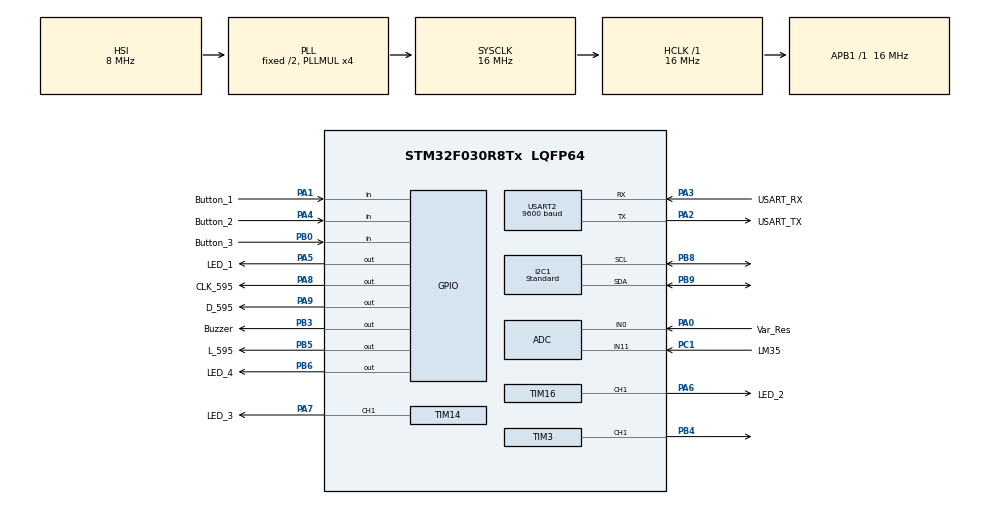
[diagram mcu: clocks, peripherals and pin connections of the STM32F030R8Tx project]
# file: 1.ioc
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ADC.ClockPrescaler=ADC_CLOCK_SYNC_PCLK_DIV2
ADC.ContinuousConvMode=ENABLE
ADC.DMAContinuousRequests=DISABLE
ADC.EOCSelection=ADC_EOC_SEQ_CONV
Dma.ADC.0.Direction=DMA_PERIPH_TO_MEMORY
Dma.ADC.0.Instance=DMA1_Channel1
Dma.ADC.0.MemDataAlignment=DMA_MDATAALIGN_HALFWORD
Dma.ADC.0.MemInc=DMA_MINC_ENABLE
Dma.ADC.0.Mode=DMA_NORMAL
Dma.ADC.0.PeriphDataAlignment=DMA_PDATAALIGN_HALFWORD
Dma.ADC.0.PeriphInc=DMA_PINC_DISABLE
Dma.ADC.0.Priority=DMA_PRIORITY_LOW
Dma.Request0=ADC
I2C1.I2C_Fall_Time=0
I2C1.I2C_Rise_Time=0
I2C1.I2C_Speed_Mode=I2C_Standard
I2C1.Speed=10
I2C1.Timing=0x200009FE
Mcu.Family=STM32F0
Mcu.Name=STM32F030R8Tx
Mcu.Package=LQFP64
NVIC.DMA1_Channel1_IRQn=true\:0\:0\:false\:false\:true\:false\:true
NVIC.TIM6_IRQn=true\:0\:0\:false\:false\:true\:true\:true
PA0.GPIO_Label=Var_Res
PA0.Mode=IN0
PA0.Signal=ADC_IN0
PA1.GPIO_Label=Button_1
PA1.Signal=GPIO_Input
PA2.GPIO_Label=USART_TX
PA2.Mode=Asynchronous
PA2.Signal=USART2_TX
PA3.GPIO_Label=USART_RX
PA3.Mode=Asynchronous
PA3.Signal=USART2_RX
PA4.GPIO_Label=Button_2
PA4.Signal=GPIO_Input
PA5.GPIO_Label=LED_1
PA5.GPIO_ModeDefaultOutputPP=GPIO_MODE_OUTPUT_PP
PA5.PinState=GPIO_PIN_SET
PA5.Signal=GPIO_Output
PA6.GPIO_Label=LED_2
PA6.GPIO_ModeDefaultPP=GPIO_MODE_AF_OD
PA6.Signal=S_TIM16_CH1
PA7.GPIO_Label=LED_3
PA7.GPIO_ModeDefaultPP=GPIO_MODE_AF_OD
PA7.Signal=S_TIM14_CH1
PA8.GPIO_Label=CLK_595
PA8.Signal=GPIO_Output
PA9.GPIO_Label=D_595
PA9.Signal=GPIO_Output
PB0.GPIO_Label=Button_3
PB0.Signal=GPIO_Input
PB3.GPIO_Label=Buzzer
PB3.GPIO_ModeDefaultOutputPP=GPIO_MODE_OUTPUT_OD
PB3.GPIO_PuPd=GPIO_PULLUP
PB3.PinState=GPIO_PIN_SET
PB3.Signal=GPIO_Output
PB4.Signal=S_TIM3_CH1
PB5.GPIO_Label=L_595
PB5.Signal=GPIO_Output
PB6.GPIO_Label=LED_4
PB6.GPIO_ModeDefaultOutputPP=GPIO_MODE_OUTPUT_PP
PB6.PinState=GPIO_PIN_SET
PB6.Signal=GPIO_Output
PB8.Mode=I2C
PB8.Signal=I2C1_SCL
PB9.Mode=I2C
PB9.Signal=I2C1_SDA
PC1.GPIO_Label=LM35
PC1.Mode=IN11
PC1.Signal=ADC_IN11
ProjectManager.HeapSize=0x200
ProjectManager.StackSize=0x400
ProjectManager.TargetToolchain=TrueSTUDIO
RCC.AHBFreq_Value=16000000
RCC.APB1Freq_Value=16000000
RCC.APB1TimFreq_Value=16000000
RCC.HCLKFreq_Value=16000000
RCC.PLLMUL=RCC_PLL_MUL4
RCC.SYSCLKFreq_VALUE=16000000
RCC.SYSCLKSource=RCC_SYSCLKSOURCE_PLLCLK
SH.S_TIM14_CH1.0=TIM14_CH1,PWM Generation1 CH1
SH.S_TIM16_CH1.0=TIM16_CH1,PWM Generation1 CH1
SH.S_TIM3_CH1.0=TIM3_CH1,PWM Generation1 CH1
TIM14.Channel=TIM_CHANNEL_1
TIM14.Period=4096
TIM14.Prescaler=2
TIM16.Channel=TIM_CHANNEL_1
TIM16.OCPolarity_1=TIM_OCPOLARITY_LOW
TIM16.Period=4096
TIM16.Prescaler=2
TIM3.Channel-PWM\ Generation1\ CH1=TIM_CHANNEL_1
TIM3.Period=4999
TIM3.Prescaler=64
TIM6.Period=32
TIM6.Prescaler=1024
USART2.BaudRate=9600
USART2.VirtualMode-Asynchronous=VM_ASYNC
VP_TIM14_VS_ClockSourceINT.Mode=Enable_Timer
VP_TIM16_VS_ClockSourceINT.Mode=Enable_Timer
VP_TIM3_VS_ClockSourceINT.Mode=Internal
VP_TIM6_VS_ClockSourceINT.Mode=Enable_Timer
board=custom

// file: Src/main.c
/* USER CODE BEGIN Header */
/**
  ******************************************************************************
REASkills-2019
  ******************************************************************************
  */
/* USER CODE END Header */

#include "main.h"

/* USER CODE BEGIN Includes */
#include <QuardDisplay.h>
#include "sd_hal_mpu6050.h"

void PWM_14_set_pos(uint16_t pos)
{
	TIM14->CCR1 = pos;
}
/* USER CODE END Includes */

ADC_HandleTypeDef hadc;
DMA_HandleTypeDef hdma_adc;

I2C_HandleTypeDef hi2c1;

TIM_HandleTypeDef htim3;
TIM_HandleTypeDef htim6;
TIM_HandleTypeDef htim14;
TIM_HandleTypeDef htim16;

UART_HandleTypeDef huart2;

/* USER CODE BEGIN PV */
/* Private variables ---------------------------------------------------------*/
char flag_pauza = 0;
uint16_t pos;
uint8_t i = 0;
uint16_t ADC_Data [16];
char str[100];
/*???????? ?????? ??? ????????????? ????????????? MPU6050*/
SD_MPU6050 mpu1;
SD_MPU6050_Result result ;
/* USER CODE END PV */

void SystemClock_Config(void);
static void MX_GPIO_Init(void);
static void MX_DMA_Init(void);
static void MX_ADC_Init(void);
static void MX_TIM6_Init(void);
static void MX_TIM3_Init(void);
static void MX_USART2_UART_Init(void);
static void MX_I2C1_Init(void);
static void MX_TIM14_Init(void);
static void MX_TIM16_Init(void);

int main(void)
{

  /* MCU Configuration--------------------------------------------------------*/

  /* Reset of all peripherals, Initializes the Flash interface and the Systick. */
  HAL_Init();

  /* Configure the system clock */
  SystemClock_Config();

  /* Initialize all configured peripherals */
  MX_GPIO_Init();
  MX_DMA_Init();
  MX_ADC_Init();
  MX_TIM6_Init();
  MX_TIM3_Init();
  MX_USART2_UART_Init();
  MX_I2C1_Init();
  MX_TIM14_Init();
  MX_TIM16_Init();
  /* USER CODE BEGIN 2 */
	HAL_TIM_PWM_Start_IT(&htim3, TIM_CHANNEL_1);
	HAL_TIM_PWM_Start_IT(&htim14, TIM_CHANNEL_1);
	HAL_TIM_PWM_Start_IT(&htim16, TIM_CHANNEL_1);
	HAL_TIM_Base_Start_IT(&htim6);
  /* USER CODE END 2 */

  /* Infinite loop */
  /* USER CODE BEGIN WHILE */
	uint8_t s;
	for(s = 5;s>0;s--)
  {
		DisplayByteDigit(s,  s,  s,  s);
		printf ("%d" "\n", s);
		HAL_Delay (500);
  }

	printf ("%s","Test USART - OK \n");

	SD_MPU6050_Init(&hi2c1,&mpu1,SD_MPU6050_Device_0,SD_MPU6050_Accelerometer_2G,SD_MPU6050_Gyroscope_250s);
	TIM3->CCR2 = 400;
  while (1)
  {
		static uint16_t ugol;
			HAL_ADC_Start_DMA (&hadc, (uint32_t *) ADC_Data, 2);
	HAL_Delay (1);

TIM14->CCR1 = (ADC_Data [0]);
TIM16->CCR1 = (ADC_Data [0]);
//TIM3->CCR2 = ADC_Data [0]*0.13427734375+100;

		static int16_t accel_x, accel_y;

		static float temp_1;
		SD_MPU6050_ReadAll(&hi2c1,&mpu1);
		temp_1 = mpu1.Temperature;
		accel_x = mpu1.Accelerometer_X;
		accel_y = mpu1.Accelerometer_Y;
		ugol = 	(accel_y + 20000)/64+150;
		TIM3->CCR1 = ugol;

if (flag_pauza)
	{
		DisplayNumber (temp_1);
		printf ("X=%d " "\n", accel_x);
		printf ("Y=%d " "\n", accel_y);
		printf ("T=%f " "\n", temp_1);
		flag_pauza =0;
	}
    /* USER CODE END WHILE */

  }
}

void SystemClock_Config(void)
{
  RCC_OscInitTypeDef RCC_OscInitStruct = {0};
  RCC_ClkInitTypeDef RCC_ClkInitStruct = {0};
  RCC_PeriphCLKInitTypeDef PeriphClkInit = {0};

  /** Initializes the CPU, AHB and APB busses clocks
  */
  RCC_OscInitStruct.OscillatorType = RCC_OSCILLATORTYPE_HSI;
  RCC_OscInitStruct.HSIState = RCC_HSI_ON;
  RCC_OscInitStruct.HSICalibrationValue = RCC_HSICALIBRATION_DEFAULT;
  RCC_OscInitStruct.PLL.PLLState = RCC_PLL_ON;
  RCC_OscInitStruct.PLL.PLLSource = RCC_PLLSOURCE_HSI;
  RCC_OscInitStruct.PLL.PLLMUL = RCC_PLL_MUL4;
  RCC_OscInitStruct.PLL.PREDIV = RCC_PREDIV_DIV1;
  if (HAL_RCC_OscConfig(&RCC_OscInitStruct) != HAL_OK)
  {
    Error_Handler();
  }
  /** Initializes the CPU, AHB and APB busses clocks
  */
  RCC_ClkInitStruct.ClockType = RCC_CLOCKTYPE_HCLK|RCC_CLOCKTYPE_SYSCLK
                              |RCC_CLOCKTYPE_PCLK1;
  RCC_ClkInitStruct.SYSCLKSource = RCC_SYSCLKSOURCE_PLLCLK;
  RCC_ClkInitStruct.AHBCLKDivider = RCC_SYSCLK_DIV1;
  RCC_ClkInitStruct.APB1CLKDivider = RCC_HCLK_DIV1;

  if (HAL_RCC_ClockConfig(&RCC_ClkInitStruct, FLASH_LATENCY_0) != HAL_OK)
  {
    Error_Handler();
  }
  PeriphClkInit.PeriphClockSelection = RCC_PERIPHCLK_I2C1;
  PeriphClkInit.I2c1ClockSelection = RCC_I2C1CLKSOURCE_HSI;
  if (HAL_RCCEx_PeriphCLKConfig(&PeriphClkInit) != HAL_OK)
  {
    Error_Handler();
  }
}

static void MX_ADC_Init(void)
{

  ADC_ChannelConfTypeDef sConfig = {0};

  /** Configure the global features of the ADC (Clock, Resolution, Data Alignment and number of conversion)
  */
  hadc.Instance = ADC1;
  hadc.Init.ClockPrescaler = ADC_CLOCK_SYNC_PCLK_DIV2;
  hadc.Init.Resolution = ADC_RESOLUTION_12B;
  hadc.Init.DataAlign = ADC_DATAALIGN_RIGHT;
  hadc.Init.ScanConvMode = ADC_SCAN_DIRECTION_FORWARD;
  hadc.Init.EOCSelection = ADC_EOC_SEQ_CONV;
  hadc.Init.LowPowerAutoWait = DISABLE;
  hadc.Init.LowPowerAutoPowerOff = DISABLE;
  hadc.Init.ContinuousConvMode = ENABLE;
  hadc.Init.DiscontinuousConvMode = DISABLE;
  hadc.Init.ExternalTrigConv = ADC_SOFTWARE_START;
  hadc.Init.ExternalTrigConvEdge = ADC_EXTERNALTRIGCONVEDGE_NONE;
  hadc.Init.DMAContinuousRequests = DISABLE;
  hadc.Init.Overrun = ADC_OVR_DATA_PRESERVED;
  if (HAL_ADC_Init(&hadc) != HAL_OK)
  {
    Error_Handler();
  }
  /** Configure for the selected ADC regular channel to be converted.
  */
  sConfig.Channel = ADC_CHANNEL_0;
  sConfig.Rank = ADC_RANK_CHANNEL_NUMBER;
  sConfig.SamplingTime = ADC_SAMPLETIME_1CYCLE_5;
  if (HAL_ADC_ConfigChannel(&hadc, &sConfig) != HAL_OK)
  {
    Error_Handler();
  }
  /** Configure for the selected ADC regular channel to be converted.
  */
  sConfig.Channel = ADC_CHANNEL_11;
  if (HAL_ADC_ConfigChannel(&hadc, &sConfig) != HAL_OK)
  {
    Error_Handler();
  }

}

static void MX_I2C1_Init(void)
{

  hi2c1.Instance = I2C1;
  hi2c1.Init.Timing = 0x200009FE;
  hi2c1.Init.OwnAddress1 = 0;
  hi2c1.Init.AddressingMode = I2C_ADDRESSINGMODE_7BIT;
  hi2c1.Init.DualAddressMode = I2C_DUALADDRESS_DISABLE;
  hi2c1.Init.OwnAddress2 = 0;
  hi2c1.Init.OwnAddress2Masks = I2C_OA2_NOMASK;
  hi2c1.Init.GeneralCallMode = I2C_GENERALCALL_DISABLE;
  hi2c1.Init.NoStretchMode = I2C_NOSTRETCH_DISABLE;
  if (HAL_I2C_Init(&hi2c1) != HAL_OK)
  {
    Error_Handler();
  }
  /** Configure Analogue filter
  */
  if (HAL_I2CEx_ConfigAnalogFilter(&hi2c1, I2C_ANALOGFILTER_ENABLE) != HAL_OK)
  {
    Error_Handler();
  }
  /** Configure Digital filter
  */
  if (HAL_I2CEx_ConfigDigitalFilter(&hi2c1, 0) != HAL_OK)
  {
    Error_Handler();
  }

}

static void MX_TIM3_Init(void)
{

  TIM_ClockConfigTypeDef sClockSourceConfig = {0};
  TIM_MasterConfigTypeDef sMasterConfig = {0};
  TIM_OC_InitTypeDef sConfigOC = {0};

  htim3.Instance = TIM3;
  htim3.Init.Prescaler = 64;
  htim3.Init.CounterMode = TIM_COUNTERMODE_UP;
  htim3.Init.Period = 4999;
  htim3.Init.ClockDivision = TIM_CLOCKDIVISION_DIV1;
  htim3.Init.AutoReloadPreload = TIM_AUTORELOAD_PRELOAD_DISABLE;
  if (HAL_TIM_Base_Init(&htim3) != HAL_OK)
  {
    Error_Handler();
  }
  sClockSourceConfig.ClockSource = TIM_CLOCKSOURCE_INTERNAL;
  if (HAL_TIM_ConfigClockSource(&htim3, &sClockSourceConfig) != HAL_OK)
  {
    Error_Handler();
  }
  if (HAL_TIM_PWM_Init(&htim3) != HAL_OK)
  {
    Error_Handler();
  }
  sMasterConfig.MasterOutputTrigger = TIM_TRGO_RESET;
  sMasterConfig.MasterSlaveMode = TIM_MASTERSLAVEMODE_DISABLE;
  if (HAL_TIMEx_MasterConfigSynchronization(&htim3, &sMasterConfig) != HAL_OK)
  {
    Error_Handler();
  }
  sConfigOC.OCMode = TIM_OCMODE_PWM1;
  sConfigOC.Pulse = 0;
  sConfigOC.OCPolarity = TIM_OCPOLARITY_HIGH;
  sConfigOC.OCFastMode = TIM_OCFAST_DISABLE;
  if (HAL_TIM_PWM_ConfigChannel(&htim3, &sConfigOC, TIM_CHANNEL_1) != HAL_OK)
  {
    Error_Handler();
  }
  HAL_TIM_MspPostInit(&htim3);

}

static void MX_TIM6_Init(void)
{

  htim6.Instance = TIM6;
  htim6.Init.Prescaler = 1024;
  htim6.Init.CounterMode = TIM_COUNTERMODE_UP;
  htim6.Init.Period = 32;
  htim6.Init.AutoReloadPreload = TIM_AUTORELOAD_PRELOAD_DISABLE;
  if (HAL_TIM_Base_Init(&htim6) != HAL_OK)
  {
    Error_Handler();
  }

}

static void MX_TIM14_Init(void)
{

  TIM_OC_InitTypeDef sConfigOC = {0};

  htim14.Instance = TIM14;
  htim14.Init.Prescaler = 2;
  htim14.Init.CounterMode = TIM_COUNTERMODE_UP;
  htim14.Init.Period = 4096;
  htim14.Init.ClockDivision = TIM_CLOCKDIVISION_DIV1;
  htim14.Init.AutoReloadPreload = TIM_AUTORELOAD_PRELOAD_DISABLE;
  if (HAL_TIM_Base_Init(&htim14) != HAL_OK)
  {
    Error_Handler();
  }
  if (HAL_TIM_PWM_Init(&htim14) != HAL_OK)
  {
    Error_Handler();
  }
  sConfigOC.OCMode = TIM_OCMODE_PWM1;
  sConfigOC.Pulse = 0;
  sConfigOC.OCPolarity = TIM_OCPOLARITY_HIGH;
  sConfigOC.OCFastMode = TIM_OCFAST_DISABLE;
  if (HAL_TIM_PWM_ConfigChannel(&htim14, &sConfigOC, TIM_CHANNEL_1) != HAL_OK)
  {
    Error_Handler();
  }
  HAL_TIM_MspPostInit(&htim14);

}

static void MX_TIM16_Init(void)
{

  TIM_OC_InitTypeDef sConfigOC = {0};
  TIM_BreakDeadTimeConfigTypeDef sBreakDeadTimeConfig = {0};

  htim16.Instance = TIM16;
  htim16.Init.Prescaler = 2;
  htim16.Init.CounterMode = TIM_COUNTERMODE_UP;
  htim16.Init.Period = 4096;
  htim16.Init.ClockDivision = TIM_CLOCKDIVISION_DIV1;
  htim16.Init.RepetitionCounter = 0;
  htim16.Init.AutoReloadPreload = TIM_AUTORELOAD_PRELOAD_DISABLE;
  if (HAL_TIM_Base_Init(&htim16) != HAL_OK)
  {
    Error_Handler();
  }
  if (HAL_TIM_PWM_Init(&htim16) != HAL_OK)
  {
    Error_Handler();
  }
  sConfigOC.OCMode = TIM_OCMODE_PWM1;
  sConfigOC.Pulse = 0;
  sConfigOC.OCPolarity = TIM_OCPOLARITY_LOW;
  sConfigOC.OCNPolarity = TIM_OCNPOLARITY_HIGH;
  sConfigOC.OCFastMode = TIM_OCFAST_DISABLE;
  sConfigOC.OCIdleState = TIM_OCIDLESTATE_RESET;
  sConfigOC.OCNIdleState = TIM_OCNIDLESTATE_RESET;
  if (HAL_TIM_PWM_ConfigChannel(&htim16, &sConfigOC, TIM_CHANNEL_1) != HAL_OK)
  {
    Error_Handler();
  }
  sBreakDeadTimeConfig.OffStateRunMode = TIM_OSSR_DISABLE;
  sBreakDeadTimeConfig.OffStateIDLEMode = TIM_OSSI_DISABLE;
  sBreakDeadTimeConfig.LockLevel = TIM_LOCKLEVEL_OFF;
  sBreakDeadTimeConfig.DeadTime = 0;
  sBreakDeadTimeConfig.BreakState = TIM_BREAK_DISABLE;
  sBreakDeadTimeConfig.BreakPolarity = TIM_BREAKPOLARITY_HIGH;
  sBreakDeadTimeConfig.AutomaticOutput = TIM_AUTOMATICOUTPUT_DISABLE;
  if (HAL_TIMEx_ConfigBreakDeadTime(&htim16, &sBreakDeadTimeConfig) != HAL_OK)
  {
    Error_Handler();
  }
  HAL_TIM_MspPostInit(&htim16);

}

static void MX_USART2_UART_Init(void)
{

  huart2.Instance = USART2;
  huart2.Init.BaudRate = 9600;
  huart2.Init.WordLength = UART_WORDLENGTH_8B;
  huart2.Init.StopBits = UART_STOPBITS_1;
  huart2.Init.Parity = UART_PARITY_NONE;
  huart2.Init.Mode = UART_MODE_TX_RX;
  huart2.Init.HwFlowCtl = UART_HWCONTROL_NONE;
  huart2.Init.OverSampling = UART_OVERSAMPLING_16;
  huart2.Init.OneBitSampling = UART_ONE_BIT_SAMPLE_DISABLE;
  huart2.AdvancedInit.AdvFeatureInit = UART_ADVFEATURE_NO_INIT;
  if (HAL_UART_Init(&huart2) != HAL_OK)
  {
    Error_Handler();
  }

}

static void MX_DMA_Init(void)
{

  /* DMA controller clock enable */
  __HAL_RCC_DMA1_CLK_ENABLE();

  /* DMA interrupt init */
  /* DMA1_Channel1_IRQn interrupt configuration */
  HAL_NVIC_SetPriority(DMA1_Channel1_IRQn, 0, 0);
  HAL_NVIC_EnableIRQ(DMA1_Channel1_IRQn);

}

static void MX_GPIO_Init(void)
{
  GPIO_InitTypeDef GPIO_InitStruct = {0};

  /* GPIO Ports Clock Enable */
  __HAL_RCC_GPIOC_CLK_ENABLE();
  __HAL_RCC_GPIOA_CLK_ENABLE();
  __HAL_RCC_GPIOB_CLK_ENABLE();

  /*Configure GPIO pin Output Level */
  HAL_GPIO_WritePin(LED_1_GPIO_Port, LED_1_Pin, GPIO_PIN_SET);

  /*Configure GPIO pin Output Level */
  HAL_GPIO_WritePin(GPIOA, CLK_595_Pin|D_595_Pin, GPIO_PIN_RESET);

  /*Configure GPIO pin Output Level */
  HAL_GPIO_WritePin(GPIOB, Buzzer_Pin|LED_4_Pin, GPIO_PIN_SET);

  /*Configure GPIO pin Output Level */
  HAL_GPIO_WritePin(L_595_GPIO_Port, L_595_Pin, GPIO_PIN_RESET);

  /*Configure GPIO pins : Button_1_Pin Button_2_Pin */
  GPIO_InitStruct.Pin = Button_1_Pin|Button_2_Pin;
  GPIO_InitStruct.Mode = GPIO_MODE_INPUT;
  GPIO_InitStruct.Pull = GPIO_NOPULL;
  HAL_GPIO_Init(GPIOA, &GPIO_InitStruct);

  /*Configure GPIO pins : LED_1_Pin CLK_595_Pin D_595_Pin */
  GPIO_InitStruct.Pin = LED_1_Pin|CLK_595_Pin|D_595_Pin;
  GPIO_InitStruct.Mode = GPIO_MODE_OUTPUT_PP;
  GPIO_InitStruct.Pull = GPIO_NOPULL;
  GPIO_InitStruct.Speed = GPIO_SPEED_FREQ_LOW;
  HAL_GPIO_Init(GPIOA, &GPIO_InitStruct);

  /*Configure GPIO pin : Button_3_Pin */
  GPIO_InitStruct.Pin = Button_3_Pin;
  GPIO_InitStruct.Mode = GPIO_MODE_INPUT;
  GPIO_InitStruct.Pull = GPIO_NOPULL;
  HAL_GPIO_Init(Button_3_GPIO_Port, &GPIO_InitStruct);

  /*Configure GPIO pin : Buzzer_Pin */
  GPIO_InitStruct.Pin = Buzzer_Pin;
  GPIO_InitStruct.Mode = GPIO_MODE_OUTPUT_OD;
  GPIO_InitStruct.Pull = GPIO_PULLUP;
  GPIO_InitStruct.Speed = GPIO_SPEED_FREQ_LOW;
  HAL_GPIO_Init(Buzzer_GPIO_Port, &GPIO_InitStruct);

  /*Configure GPIO pins : L_595_Pin LED_4_Pin */
  GPIO_InitStruct.Pin = L_595_Pin|LED_4_Pin;
  GPIO_InitStruct.Mode = GPIO_MODE_OUTPUT_PP;
  GPIO_InitStruct.Pull = GPIO_NOPULL;
  GPIO_InitStruct.Speed = GPIO_SPEED_FREQ_LOW;
  HAL_GPIO_Init(GPIOB, &GPIO_InitStruct);

}

void Error_Handler(void)
{
}

/************************ (C) COPYRIGHT STMicroelectronics *****END OF FILE****/
